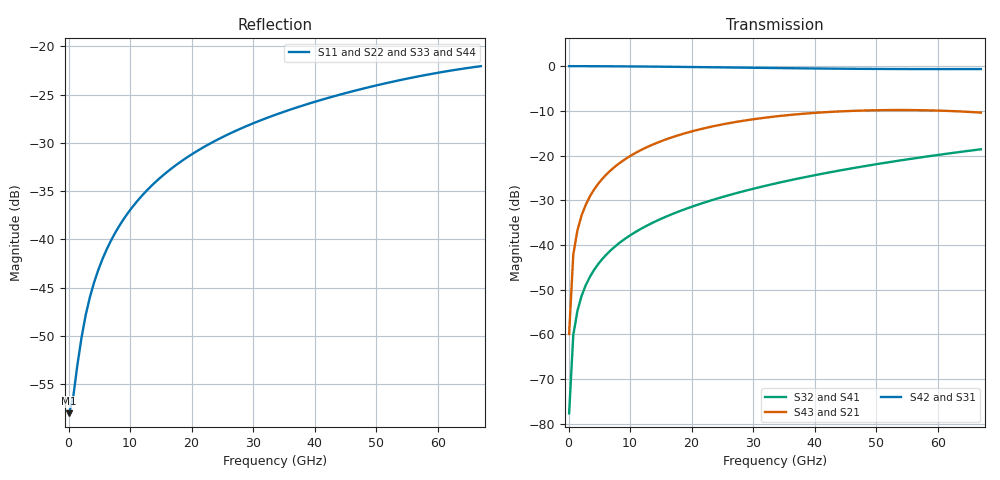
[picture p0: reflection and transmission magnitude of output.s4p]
! Created with skrf (http://scikit-rf.org).
# Hz S RI R 50.0
!freq ReS11 ImS11 ReS12 ImS12 ReS13 ImS13
! ReS14 ImS14
! ReS21 ImS21 ReS22 ImS22 ReS23 ImS23
! ReS24 ImS24
! ReS31 ImS31 ReS32 ImS32 ReS33 ImS33
! ReS34 ImS34
! ReS41 ImS41 ReS42 ImS42 ReS43 ImS43
! ReS44 ImS44
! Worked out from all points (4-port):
!   100 points, 100 MHz to 67 GHz, reference 50 ohm
!   strongest paths, dB at 100 MHz, 16.99 GHz, 33.89 GHz, 50.78 GHz, 67 GHz:
!     S42: 0.0, -0.2, -0.4, -0.6, -0.7
!     S31: 0.0, -0.2, -0.4, -0.6, -0.7
!     S43: -59.9, -15.8, -11.2, -9.9, -10.4
!     S21: -59.9, -15.8, -11.2, -9.9, -10.4
!     S32: -77.7, -33.0, -26.2, -21.8, -18.6
!     S41: -77.7, -33.0, -26.2, -21.8, -18.6
!   lowest |S11| = -58.0 dB at 100 MHz (marker M1), VSWR 1.00, Z = 50.1 - j0.0145 ohm
!   |S11| at or under -10 dB: start of sweep to end of sweep
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1e8  0.00125 -0.000145  4.04e-05 0.00101  0.9987 -0.00307  -3.52e-05 -0.000126
     4.04e-05 0.00101  0.00125 -0.000145  -3.52e-05 -0.000126  0.9987 -0.00307
     0.9987 -0.00307  -3.52e-05 -0.000126  0.00125 -0.000145  4.04e-05 0.00101
     -3.52e-05 -0.000126  0.9987 -0.00307  4.04e-05 0.00101  0.00125 -0.000145
7.757576e8  0.00105 -0.00112  0.000243 0.0078  0.9985 -0.0238  -5.52e-05 -0.000976
            0.000243 0.0078  0.00105 -0.00112  -5.52e-05 -0.000976  0.9985 -0.0238
            0.9985 -0.0238  -5.52e-05 -0.000976  0.00105 -0.00112  0.000243 0.0078
            -5.52e-05 -0.000976  0.9985 -0.0238  0.000243 0.0078  0.00105 -0.00112
2.127273e9  0.000614 -0.00305  0.00149 0.0213  0.9967 -0.0653  -0.000162 -0.00268
            0.00149 0.0213  0.000614 -0.00305  -0.000162 -0.00268  0.9967 -0.0653
            0.9967 -0.0653  -0.000162 -0.00268  0.000614 -0.00305  0.00149 0.0213
            -0.000162 -0.00268  0.9967 -0.0653  0.00149 0.0213  0.000614 -0.00305
5.506061e9  0.000223 -0.00789  0.00939 0.0542  0.9825 -0.1679  -0.000806 -0.00692
            0.00939 0.0542  0.000223 -0.00789  -0.000806 -0.00692  0.9825 -0.1679
            0.9825 -0.1679  -0.000806 -0.00692  0.000223 -0.00789  0.00939 0.0542
            -0.000806 -0.00692  0.9825 -0.1679  0.00939 0.0542  0.000223 -0.00789
1.091212e10  -0.00187 -0.0153  0.0352 0.1011  0.9363 -0.3253  -0.00305 -0.0136
             0.0352 0.1011  -0.00187 -0.0153  -0.00305 -0.0136  0.9363 -0.3253
             0.9363 -0.3253  -0.00305 -0.0136  -0.00187 -0.0153  0.0352 0.1011
             -0.00305 -0.0136  0.9363 -0.3253  0.0352 0.1011  -0.00187 -0.0153
3.861818e10  -0.0323 -0.0383  0.2672 0.1248  0.3897 -0.8596  -0.0444 -0.0367
             0.2672 0.1248  -0.0323 -0.0383  -0.0444 -0.0367  0.3897 -0.8596
             0.3897 -0.8596  -0.0444 -0.0367  -0.0323 -0.0383  0.2672 0.1248
             -0.0444 -0.0367  0.3897 -0.8596  0.2672 0.1248  -0.0323 -0.0383
6.7e10  -0.0774 -0.0163  0.287 -0.0941  -0.3267 -0.8679  -0.1162 0.0167
        0.287 -0.0941  -0.0774 -0.0163  -0.1162 0.0167  -0.3267 -0.8679
        -0.3267 -0.8679  -0.1162 0.0167  -0.0774 -0.0163  0.287 -0.0941
        -0.1162 0.0167  -0.3267 -0.8679  0.287 -0.0941  -0.0774 -0.0163
